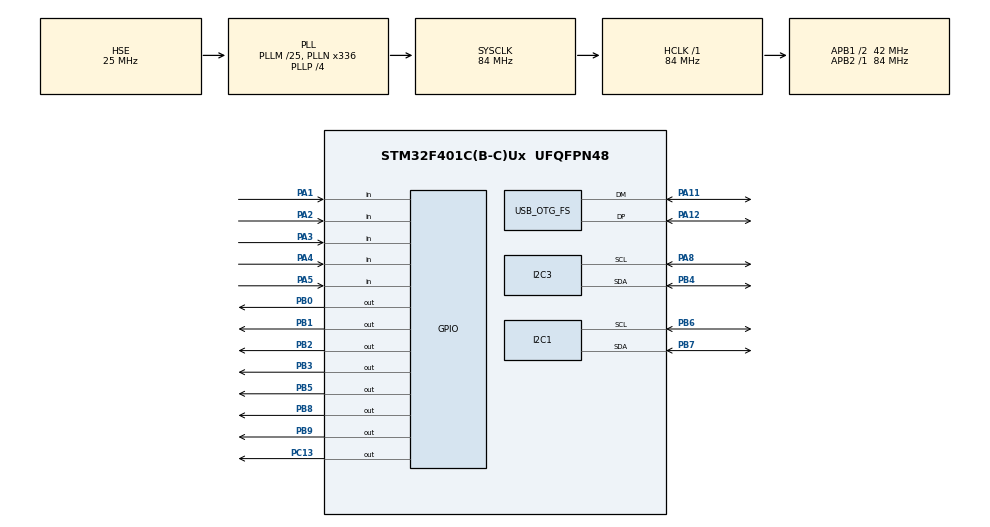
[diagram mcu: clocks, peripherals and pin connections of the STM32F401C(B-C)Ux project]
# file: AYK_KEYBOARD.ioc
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Mcu.Family=STM32F4
Mcu.Name=STM32F401C(B-C)Ux
Mcu.Package=UFQFPN48
NVIC.OTG_FS_IRQn=true\:0\:0\:false\:false\:true\:false\:true\:true
NVIC.PriorityGroup=NVIC_PRIORITYGROUP_4
PA1.GPIO_PuPd=GPIO_PULLUP
PA1.Signal=GPIO_Input
PA11.Mode=Device_Only
PA11.Signal=USB_OTG_FS_DM
PA12.Mode=Device_Only
PA12.Signal=USB_OTG_FS_DP
PA2.GPIO_PuPd=GPIO_PULLUP
PA2.Signal=GPIO_Input
PA3.GPIO_PuPd=GPIO_PULLUP
PA3.Signal=GPIO_Input
PA4.GPIO_PuPd=GPIO_PULLUP
PA4.Signal=GPIO_Input
PA5.GPIO_PuPd=GPIO_PULLUP
PA5.Signal=GPIO_Input
PA8.Mode=I2C
PA8.Signal=I2C3_SCL
PB0.Signal=GPIO_Output
PB1.Signal=GPIO_Output
PB2.Signal=GPIO_Output
PB3.Signal=GPIO_Output
PB4.Mode=I2C
PB4.Signal=I2C3_SDA
PB5.Signal=GPIO_Output
PB6.Mode=I2C
PB6.Signal=I2C1_SCL
PB7.Mode=I2C
PB7.Signal=I2C1_SDA
PB8.Signal=GPIO_Output
PB9.Signal=GPIO_Output
PC13-ANTI_TAMP.Signal=GPIO_Output
PH0\ -\ OSC_IN.Mode=HSE-External-Oscillator
PH0\ -\ OSC_IN.Signal=RCC_OSC_IN
PH1\ -\ OSC_OUT.Mode=HSE-External-Oscillator
PH1\ -\ OSC_OUT.Signal=RCC_OSC_OUT
ProjectManager.HeapSize=0x200
ProjectManager.StackSize=0x400
ProjectManager.TargetToolchain=MDK-ARM V5.32
RCC.48MHZClocksFreq_Value=48000000
RCC.AHBFreq_Value=84000000
RCC.APB1CLKDivider=RCC_HCLK_DIV2
RCC.APB1Freq_Value=42000000
RCC.APB1TimFreq_Value=84000000
RCC.APB2Freq_Value=84000000
RCC.APB2TimFreq_Value=84000000
RCC.CortexFreq_Value=84000000
RCC.HCLKFreq_Value=84000000
RCC.HSE_VALUE=25000000
RCC.HSI_VALUE=16000000
RCC.LSE_VALUE=32768
RCC.PLLM=25
RCC.PLLN=336
RCC.PLLP=RCC_PLLP_DIV4
RCC.PLLQ=7
RCC.SYSCLKFreq_VALUE=84000000
RCC.SYSCLKSource=RCC_SYSCLKSOURCE_PLLCLK
RCC.VCOOutputFreq_Value=336000000
USB_DEVICE.CLASS_NAME_FS=CUSTOM_HID
USB_DEVICE.MANUFACTURER_STRING=AYK
USB_DEVICE.PRODUCT_STRING_CUSTOMHID_FS=AYK_KEYBOARD
USB_DEVICE.VirtualMode=CustomHid
USB_DEVICE.VirtualModeFS=Custom_Hid_FS
USB_OTG_FS.VirtualMode=Device_Only
VP_USB_DEVICE_VS_USB_DEVICE_CUSTOM_HID_FS.Mode=CUSTOM_HID_FS
board=custom

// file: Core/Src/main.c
/* USER CODE BEGIN Header */
/**
  ******************************************************************************
  * @file           : main.c
  * @brief          : Main program body
  ******************************************************************************
  * @attention
  *
  * Copyright (c) 2023 STMicroelectronics.
  * All rights reserved.
  *
  * This software is licensed under terms that can be found in the LICENSE file
  * in the root directory of this software component.
  * If no LICENSE file comes with this software, it is provided AS-IS.
  *
  ******************************************************************************
  */
/* USER CODE END Header */
#include "main.h"
#include "usb_device.h"

/* USER CODE BEGIN Includes */
#include <stdbool.h>
/* USER CODE END Includes */

I2C_HandleTypeDef hi2c1;
I2C_HandleTypeDef hi2c3;

void SystemClock_Config(void);
static void MX_GPIO_Init(void);
static void MX_I2C1_Init(void);
static void MX_I2C3_Init(void);
/* USER CODE BEGIN PFP */
void ClearKey(void);
void FnKey(void);
void RowKey(uint8_t);
void delay_ms(uint16_t ms);
void TIM3_Encoder_init(void);
char str[] = "Hallo World!";
/* USER CODE END PFP */

/* USER CODE BEGIN 0 */

extern 			USBD_HandleTypeDef hUsbDeviceFS;

typedef struct{
	uint8_t ReportID;
	uint8_t MODIFIER;
	uint8_t RESERVED;
	uint8_t KEYCODE1;
	uint8_t KEYCODE2;
	uint8_t KEYCODE3;
	uint8_t KEYCODE4;
	uint8_t KEYCODE5;
	uint8_t KEYCODE6;
}keyboardHID;

union FnKey{
	uint16_t macros;
	uint8_t  KeyMacros[2];

}MacrosKey;

// 'frame_0_delay-0', 128x32px
const unsigned char epd_bitmap_frame_0_delay_0 []  = {
	0x00, 0x00, 0x00, 0x00, 0x00, 0x00, 0x00, 0x00, 0x00, 0x00, 0x00, 0x00, 0x00, 0x00, 0x00, 0x00,
	0x00, 0x00, 0x00, 0x00, 0x00, 0x00, 0x00, 0x00, 0x00, 0x00, 0x00, 0x00, 0x00, 0x00, 0x00, 0x00,
	0x00, 0x00, 0x00, 0x00, 0x00, 0x00, 0x00, 0x00, 0x00, 0x00, 0x00, 0x00, 0x00, 0x00, 0x00, 0x00,
	0x00, 0x00, 0x00, 0x00, 0x00, 0x00, 0x00, 0x00, 0x00, 0x00, 0x00, 0x00, 0x00, 0x00, 0x00, 0x00,
	0x00, 0x00, 0x00, 0x00, 0x00, 0x00, 0x00, 0x00, 0x00, 0x00, 0x00, 0x00, 0x00, 0x00, 0x00, 0x00,
	0x00, 0x00, 0x00, 0x00, 0x00, 0x00, 0x00, 0x00, 0x00, 0x00, 0x00, 0x00, 0x00, 0x00, 0x00, 0x00,
	0x00, 0x00, 0x00, 0x00, 0x00, 0x00, 0x00, 0x00, 0x00, 0x00, 0x00, 0x00, 0x00, 0x00, 0x00, 0x00,
	0x00, 0x00, 0x00, 0x00, 0x00, 0x00, 0x00, 0x00, 0x00, 0x00, 0x00, 0x00, 0x00, 0x00, 0x00, 0x00,
	0x00, 0x00, 0x00, 0x00, 0x00, 0x00, 0x00, 0x00, 0x00, 0x00, 0x00, 0x00, 0x00, 0x00, 0x00, 0x00,
	0x00, 0x00, 0x00, 0x00, 0x00, 0x00, 0x00, 0x00, 0x00, 0x00, 0x00, 0x00, 0x00, 0x00, 0x00, 0x00,
	0x00, 0x00, 0x03, 0x00, 0x00, 0x00, 0x40, 0x00, 0x03, 0x0f, 0x60, 0x08, 0x71, 0x00, 0x40, 0x00,
	0x03, 0xff, 0xff, 0xff, 0x73, 0xdf, 0xff, 0xfe, 0x7f, 0xfe, 0xff, 0xff, 0xff, 0xff, 0xfe, 0x00,
	0x03, 0x9c, 0x60, 0x04, 0xff, 0x3c, 0x07, 0x9d, 0xe0, 0x00, 0x00, 0x83, 0x00, 0x1c, 0x00, 0x00,
	0x00, 0x00, 0x00, 0x00, 0x0c, 0x00, 0x03, 0x00, 0x00, 0x00, 0x00, 0x03, 0x00, 0x00, 0x00, 0x00,
	0x00, 0x00, 0x00, 0x00, 0x0c, 0x00, 0x01, 0x80, 0x00, 0x00, 0x00, 0x03, 0x00, 0x00, 0x00, 0x00,
	0x00, 0x00, 0x00, 0x00, 0x07, 0x00, 0x21, 0x80, 0x00, 0x00, 0x00, 0x61, 0x00, 0x00, 0x00, 0x00,
	0x00, 0x00, 0x00, 0x00, 0x03, 0x00, 0x21, 0x80, 0x7b, 0xc0, 0x00, 0x01, 0x80, 0x00, 0x00, 0x00,
	0x00, 0x00, 0x00, 0x00, 0x00, 0x80, 0x00, 0x98, 0x4e, 0x60, 0x00, 0x01, 0x00, 0x00, 0x00, 0x00,
	0x00, 0x00, 0x00, 0x00, 0x00, 0xc0, 0x01, 0x18, 0x40, 0x0e, 0x04, 0x03, 0x00, 0x00, 0x00, 0x00,
	0x00, 0x00, 0x00, 0x00, 0x00, 0x61, 0x03, 0x00, 0x00, 0x0e, 0x03, 0xc6, 0x00, 0x00, 0x00, 0x00,
	0x00, 0x00, 0x00, 0x00, 0x00, 0x30, 0xfe, 0x00, 0x00, 0x00, 0x03, 0xfc, 0x00, 0x00, 0x00, 0x00,
	0x00, 0x00, 0x00, 0x00, 0x00, 0x30, 0x10, 0x00, 0x00, 0x00, 0x06, 0x00, 0x00, 0x00, 0x00, 0x00,
	0x00, 0x00, 0x00, 0x00, 0x00, 0x30, 0x00, 0x00, 0x00, 0x00, 0x0c, 0x00, 0x00, 0x00, 0x00, 0x00,
	0x00, 0x00, 0x00, 0x00, 0x00, 0x20, 0x00, 0x00, 0x00, 0x00, 0x08, 0x00, 0x00, 0x00, 0x00, 0x00,
	0x00, 0x00, 0x00, 0x00, 0x00, 0x30, 0x00, 0x00, 0x00, 0x00, 0x30, 0x00, 0x00, 0x00, 0x00, 0x00,
	0x00, 0x00, 0x00, 0x00, 0x00, 0x31, 0xf0, 0x00, 0x00, 0x01, 0xe0, 0x00, 0x00, 0x00, 0x00, 0x00,
	0x00, 0x00, 0x00, 0x00, 0x00, 0x1f, 0xff, 0xb0, 0x00, 0x03, 0xc0, 0x00, 0x00, 0x00, 0x00, 0x00,
	0x00, 0x00, 0x00, 0x00, 0x00, 0x10, 0x00, 0xff, 0xe8, 0x0e, 0x00, 0x00, 0x00, 0x00, 0x00, 0x00,
	0x00, 0x00, 0x00, 0x00, 0x00, 0x00, 0x00, 0x01, 0xbe, 0x18, 0x00, 0x00, 0x00, 0x00, 0x00, 0x00,
	0x00, 0x00, 0x00, 0x00, 0x00, 0x00, 0x00, 0x00, 0x03, 0x90, 0x00, 0x00, 0x00, 0x00, 0x00, 0x00,
	0x00, 0x00, 0x00, 0x00, 0x00, 0x00, 0x00, 0x00, 0x00, 0xe0, 0x00, 0x00, 0x00, 0x00, 0x00, 0x00,
	0x00, 0x00, 0x00, 0x00, 0x00, 0x00, 0x00, 0x00, 0x00, 0x30, 0x00, 0x00, 0x00, 0x00, 0x00, 0x00
};
// 'frame_1_delay-0', 128x32px
const unsigned char epd_bitmap_frame_1_delay_0 []  = {
	0x00, 0x00, 0x00, 0x00, 0x00, 0x00, 0x00, 0x00, 0x00, 0x00, 0x00, 0x84, 0x00, 0x00, 0x00, 0x00,
	0x00, 0x00, 0x00, 0x00, 0x00, 0x00, 0x00, 0x00, 0x00, 0x00, 0x61, 0x8c, 0x00, 0x00, 0x00, 0x00,
	0x00, 0x00, 0x00, 0x00, 0x00, 0x00, 0x00, 0x00, 0x00, 0x00, 0x79, 0x9c, 0x00, 0x00, 0x00, 0x00,
	0x00, 0x00, 0x00, 0x00, 0x00, 0x00, 0x00, 0x00, 0x00, 0x00, 0x18, 0x18, 0x00, 0x00, 0x00, 0x00,
	0x00, 0x00, 0x00, 0x00, 0x00, 0x00, 0x00, 0x00, 0x00, 0x00, 0x07, 0x80, 0x00, 0x00, 0x00, 0x00,
	0x00, 0x00, 0x00, 0x00, 0x00, 0x00, 0x00, 0x00, 0x00, 0x00, 0x0e, 0x60, 0x00, 0x00, 0x00, 0x00,
	0x00, 0x00, 0x00, 0x00, 0x00, 0x00, 0x00, 0x00, 0x00, 0x00, 0x18, 0x30, 0x00, 0x00, 0x00, 0x00,
	0x00, 0x00, 0x00, 0x00, 0x00, 0x00, 0x00, 0x00, 0x00, 0x00, 0x70, 0x18, 0x00, 0x00, 0x00, 0x00,
	0x00, 0x00, 0x00, 0x00, 0x00, 0x00, 0x00, 0x00, 0x00, 0x01, 0xc0, 0x30, 0x00, 0x00, 0x00, 0x00,
	0x00, 0x00, 0x00, 0x00, 0x00, 0x00, 0x00, 0x00, 0x00, 0x01, 0x80, 0x30, 0x00, 0x00, 0x00, 0x00,
	0x00, 0x00, 0x03, 0x00, 0x00, 0x00, 0x40, 0x00, 0x03, 0x0f, 0x00, 0x38, 0x71, 0x00, 0x40, 0x00,
	0x03, 0xff, 0xff, 0xff, 0x73, 0xdf, 0xff, 0xfe, 0x7f, 0xfe, 0x00, 0x3f, 0xff, 0xff, 0xfe, 0x00,
	0x03, 0x9c, 0x60, 0x04, 0xff, 0xbc, 0x07, 0x9d, 0xe0, 0x00, 0x00, 0x20, 0x00, 0x1c, 0x00, 0x00,
	0x00, 0x00, 0x00, 0x00, 0x0c, 0x00, 0x03, 0x00, 0x00, 0x00, 0x00, 0x60, 0x00, 0x00, 0x00, 0x00,
	0x00, 0x00, 0x00, 0x00, 0x0c, 0x00, 0x01, 0x80, 0x00, 0x00, 0x00, 0x60, 0x00, 0x00, 0x00, 0x00,
	0x00, 0x00, 0x00, 0x00, 0x07, 0x00, 0x21, 0x80, 0x00, 0x00, 0x00, 0x60, 0x00, 0x00, 0x00, 0x00,
	0x00, 0x00, 0x00, 0x00, 0x03, 0x00, 0x21, 0x80, 0x7b, 0xc0, 0x00, 0xc0, 0x00, 0x00, 0x00, 0x00,
	0x00, 0x00, 0x00, 0x00, 0x00, 0x80, 0x00, 0x98, 0x4e, 0x60, 0x00, 0xc0, 0x00, 0x00, 0x00, 0x00,
	0x00, 0x00, 0x00, 0x00, 0x00, 0xc0, 0x01, 0x18, 0x40, 0x0e, 0x00, 0xc0, 0x00, 0x00, 0x00, 0x00,
	0x00, 0x00, 0x00, 0x00, 0x00, 0x61, 0x02, 0x00, 0x00, 0x0e, 0x01, 0x80, 0x00, 0x00, 0x00, 0x00,
	0x00, 0x00, 0x00, 0x00, 0x00, 0x30, 0xfe, 0x00, 0x00, 0x00, 0x03, 0x00, 0x00, 0x00, 0x00, 0x00,
	0x00, 0x00, 0x00, 0x00, 0x00, 0x30, 0x10, 0x00, 0x00, 0x00, 0x06, 0x00, 0x00, 0x00, 0x00, 0x00,
	0x00, 0x00, 0x00, 0x00, 0x00, 0x30, 0x00, 0x00, 0x00, 0x00, 0x0c, 0x00, 0x00, 0x00, 0x00, 0x00,
	0x00, 0x00, 0x00, 0x00, 0x00, 0x20, 0x00, 0x00, 0x00, 0x00, 0x08, 0x00, 0x00, 0x00, 0x00, 0x00,
	0x00, 0x00, 0x00, 0x00, 0x00, 0x30, 0x00, 0x00, 0x00, 0x00, 0x30, 0x00, 0x00, 0x00, 0x00, 0x00,
	0x00, 0x00, 0x00, 0x00, 0x00, 0x31, 0xe8, 0x00, 0x00, 0x01, 0xe0, 0x00, 0x00, 0x00, 0x00, 0x00,
	0x00, 0x00, 0x00, 0x00, 0x00, 0x3f, 0xff, 0xf0, 0x00, 0x03, 0xc0, 0x00, 0x00, 0x00, 0x00, 0x00,
	0x00, 0x00, 0x00, 0x00, 0x00, 0x00, 0x00, 0xff, 0xe8, 0x0e, 0x00, 0x00, 0x00, 0x00, 0x00, 0x00,
	0x00, 0x00, 0x00, 0x00, 0x00, 0x00, 0x00, 0x01, 0x9e, 0x18, 0x00, 0x00, 0x00, 0x00, 0x00, 0x00,
	0x00, 0x00, 0x00, 0x00, 0x00, 0x00, 0x00, 0x00, 0x03, 0x90, 0x00, 0x00, 0x00, 0x00, 0x00, 0x00,
	0x00, 0x00, 0x00, 0x00, 0x00, 0x00, 0x00, 0x00, 0x00, 0xe0, 0x00, 0x00, 0x00, 0x00, 0x00, 0x00,
	0x00, 0x00, 0x00, 0x00, 0x00, 0x00, 0x00, 0x00, 0x00, 0x00, 0x00, 0x00, 0x00, 0x00, 0x00, 0x00
};
// 'frame_3_delay-0', 128x32px
const unsigned char epd_bitmap_frame_3_delay_0 []  = {
	0x00, 0x00, 0x00, 0x00, 0x00, 0x00, 0x00, 0x00, 0x00, 0x00, 0x00, 0x00, 0x00, 0x00, 0x00, 0x00,
	0x00, 0x00, 0x00, 0x00, 0x00, 0x01, 0x86, 0x08, 0x00, 0x00, 0x00, 0x00, 0x00, 0x00, 0x00, 0x00,
	0x00, 0x00, 0x00, 0x00, 0x00, 0x00, 0xc6, 0x38, 0x00, 0x00, 0x00, 0x00, 0x00, 0x00, 0x00, 0x00,
	0x00, 0x00, 0x00, 0x00, 0x00, 0x00, 0x66, 0x30, 0x00, 0x00, 0x00, 0x00, 0x00, 0x00, 0x00, 0x00,
	0x00, 0x00, 0x00, 0x00, 0x00, 0x00, 0x60, 0x20, 0x00, 0x00, 0x00, 0x00, 0x00, 0x00, 0x00, 0x00,
	0x00, 0x00, 0x00, 0x00, 0x00, 0x00, 0x1e, 0x00, 0x00, 0x00, 0x00, 0x00, 0x00, 0x00, 0x00, 0x00,
	0x00, 0x00, 0x00, 0x00, 0x00, 0x00, 0x3f, 0x80, 0x00, 0x00, 0x00, 0x00, 0x00, 0x00, 0x00, 0x00,
	0x00, 0x00, 0x00, 0x00, 0x00, 0x00, 0xe0, 0xc0, 0x00, 0x00, 0x00, 0x00, 0x00, 0x00, 0x00, 0x00,
	0x00, 0x00, 0x00, 0x00, 0x00, 0x01, 0x80, 0x40, 0x00, 0x00, 0x00, 0x00, 0x00, 0x00, 0x00, 0x00,
	0x00, 0x00, 0x00, 0x00, 0x00, 0x07, 0x80, 0xe0, 0x00, 0x00, 0x00, 0x00, 0x00, 0x00, 0x00, 0x00,
	0x00, 0x00, 0x01, 0x00, 0x00, 0x0e, 0x00, 0xc0, 0x03, 0x0f, 0x62, 0x08, 0x73, 0x00, 0x40, 0x00,
	0x03, 0xff, 0xff, 0xff, 0xf3, 0xdc, 0x00, 0xfe, 0x7f, 0xfe, 0xff, 0xff, 0xff, 0xff, 0xfe, 0x00,
	0x03, 0x9c, 0x60, 0x04, 0xff, 0x38, 0x00, 0xdd, 0xe0, 0x00, 0x00, 0x83, 0x00, 0x1c, 0x00, 0x00,
	0x00, 0x00, 0x00, 0x00, 0x0c, 0x18, 0x01, 0xc0, 0x00, 0x00, 0x00, 0x03, 0x00, 0x00, 0x00, 0x00,
	0x00, 0x00, 0x00, 0x00, 0x0c, 0x10, 0x00, 0x00, 0x00, 0x00, 0x00, 0x03, 0x00, 0x00, 0x00, 0x00,
	0x00, 0x00, 0x00, 0x00, 0x06, 0x00, 0x00, 0x00, 0x00, 0x00, 0x00, 0x61, 0x00, 0x00, 0x00, 0x00,
	0x00, 0x00, 0x00, 0x00, 0x03, 0x00, 0x00, 0x00, 0x7b, 0xc0, 0x00, 0x01, 0x80, 0x00, 0x00, 0x00,
	0x00, 0x00, 0x00, 0x00, 0x00, 0x80, 0x00, 0x18, 0x4e, 0x60, 0x00, 0x01, 0x00, 0x00, 0x00, 0x00,
	0x00, 0x00, 0x00, 0x00, 0x00, 0xc0, 0x00, 0x38, 0x40, 0x0e, 0x04, 0x03, 0x00, 0x00, 0x00, 0x00,
	0x00, 0x00, 0x00, 0x00, 0x00, 0x60, 0x00, 0x00, 0x00, 0x0e, 0x03, 0xc6, 0x00, 0x00, 0x00, 0x00,
	0x00, 0x00, 0x00, 0x00, 0x00, 0x30, 0x00, 0x00, 0x00, 0x00, 0x03, 0xfc, 0x00, 0x00, 0x00, 0x00,
	0x00, 0x00, 0x00, 0x00, 0x00, 0x30, 0x00, 0x00, 0x00, 0x00, 0x06, 0x00, 0x00, 0x00, 0x00, 0x00,
	0x00, 0x00, 0x00, 0x00, 0x00, 0x30, 0x00, 0x00, 0x00, 0x00, 0x0c, 0x00, 0x00, 0x00, 0x00, 0x00,
	0x00, 0x00, 0x00, 0x00, 0x00, 0x20, 0x00, 0x00, 0x00, 0x00, 0x08, 0x00, 0x00, 0x00, 0x00, 0x00,
	0x00, 0x00, 0x00, 0x00, 0x00, 0x30, 0x00, 0x00, 0x00, 0x00, 0x30, 0x00, 0x00, 0x00, 0x00, 0x00,
	0x00, 0x00, 0x00, 0x00, 0x00, 0x31, 0xe8, 0x00, 0x00, 0x01, 0xe0, 0x00, 0x00, 0x00, 0x00, 0x00,
	0x00, 0x00, 0x00, 0x00, 0x00, 0x3f, 0xff, 0xf0, 0x00, 0x03, 0xc0, 0x00, 0x00, 0x00, 0x00, 0x00,
	0x00, 0x00, 0x00, 0x00, 0x00, 0x00, 0x00, 0xff, 0xe8, 0x0e, 0x00, 0x00, 0x00, 0x00, 0x00, 0x00,
	0x00, 0x00, 0x00, 0x00, 0x00, 0x00, 0x00, 0x01, 0x9e, 0x18, 0x00, 0x00, 0x00, 0x00, 0x00, 0x00,
	0x00, 0x00, 0x00, 0x00, 0x00, 0x00, 0x00, 0x00, 0x03, 0x90, 0x00, 0x00, 0x00, 0x00, 0x00, 0x00,
	0x00, 0x00, 0x00, 0x00, 0x00, 0x00, 0x00, 0x00, 0x00, 0xe0, 0x00, 0x00, 0x00, 0x00, 0x00, 0x00,
	0x00, 0x00, 0x00, 0x00, 0x00, 0x00, 0x00, 0x00, 0x00, 0x00, 0x00, 0x00, 0x00, 0x00, 0x00, 0x00
};
// 'frame_5_delay-0', 128x32px
const unsigned char epd_bitmap_frame_5_delay_0 []  = {
	0x00, 0x00, 0x00, 0x00, 0x00, 0x00, 0x00, 0x00, 0x00, 0x00, 0x00, 0x80, 0x00, 0x00, 0x00, 0x00,
	0x00, 0x00, 0x00, 0x00, 0x00, 0x00, 0x06, 0x00, 0x00, 0x00, 0xe1, 0x8c, 0x00, 0x00, 0x00, 0x00,
	0x00, 0x00, 0x00, 0x00, 0x00, 0x00, 0x0e, 0x08, 0x00, 0x00, 0x71, 0x9c, 0x00, 0x00, 0x00, 0x00,
	0x00, 0x00, 0x00, 0x00, 0x00, 0x01, 0xc4, 0x18, 0x00, 0x00, 0x00, 0x18, 0x00, 0x00, 0x00, 0x00,
	0x00, 0x00, 0x00, 0x00, 0x00, 0x01, 0xe0, 0x30, 0x00, 0x00, 0x07, 0xc0, 0x00, 0x00, 0x00, 0x00,
	0x00, 0x00, 0x00, 0x00, 0x00, 0x00, 0x1e, 0x00, 0x00, 0x00, 0x0e, 0x60, 0x00, 0x00, 0x00, 0x00,
	0x00, 0x00, 0x00, 0x00, 0x00, 0x00, 0x3f, 0x80, 0x00, 0x00, 0x18, 0x30, 0x00, 0x00, 0x00, 0x00,
	0x00, 0x00, 0x00, 0x00, 0x00, 0x00, 0xe0, 0xc0, 0x00, 0x00, 0x70, 0x18, 0x00, 0x00, 0x00, 0x00,
	0x00, 0x00, 0x00, 0x00, 0x00, 0x01, 0x80, 0x40, 0x00, 0x01, 0xc0, 0x30, 0x00, 0x00, 0x00, 0x00,
	0x00, 0x00, 0x00, 0x00, 0x00, 0x07, 0x80, 0xe0, 0x00, 0x01, 0x80, 0x30, 0x00, 0x00, 0x00, 0x00,
	0x00, 0x00, 0x01, 0x00, 0x00, 0x0e, 0x00, 0xc0, 0x03, 0x0f, 0x00, 0x38, 0x73, 0x00, 0x40, 0x00,
	0x03, 0xff, 0xff, 0xff, 0x73, 0xdc, 0x00, 0xfe, 0x7f, 0xfe, 0x00, 0x3f, 0xff, 0xff, 0xfe, 0x00,
	0x03, 0x9c, 0x60, 0x04, 0xff, 0x38, 0x00, 0xdd, 0xe0, 0x00, 0x00, 0x20, 0x00, 0x1c, 0x00, 0x00,
	0x00, 0x00, 0x00, 0x00, 0x0c, 0x18, 0x01, 0xc0, 0x00, 0x00, 0x00, 0x60, 0x00, 0x00, 0x00, 0x00,
	0x00, 0x00, 0x00, 0x00, 0x0c, 0x10, 0x00, 0x00, 0x00, 0x00, 0x00, 0x60, 0x00, 0x00, 0x00, 0x00,
	0x00, 0x00, 0x00, 0x00, 0x06, 0x00, 0x00, 0x00, 0x00, 0x00, 0x00, 0x60, 0x00, 0x00, 0x00, 0x00,
	0x00, 0x00, 0x00, 0x00, 0x03, 0x00, 0x00, 0x00, 0x7b, 0xc0, 0x00, 0xc0, 0x00, 0x00, 0x00, 0x00,
	0x00, 0x00, 0x00, 0x00, 0x00, 0x80, 0x00, 0x18, 0x4e, 0x60, 0x00, 0xc0, 0x00, 0x00, 0x00, 0x00,
	0x00, 0x00, 0x00, 0x00, 0x00, 0xc0, 0x00, 0x18, 0x40, 0x0e, 0x00, 0xc0, 0x00, 0x00, 0x00, 0x00,
	0x00, 0x00, 0x00, 0x00, 0x00, 0x60, 0x00, 0x00, 0x00, 0x0e, 0x01, 0x80, 0x00, 0x00, 0x00, 0x00,
	0x00, 0x00, 0x00, 0x00, 0x00, 0x30, 0x00, 0x00, 0x00, 0x00, 0x03, 0x00, 0x00, 0x00, 0x00, 0x00,
	0x00, 0x00, 0x00, 0x00, 0x00, 0x30, 0x00, 0x00, 0x00, 0x00, 0x06, 0x00, 0x00, 0x00, 0x00, 0x00,
	0x00, 0x00, 0x00, 0x00, 0x00, 0x30, 0x00, 0x00, 0x00, 0x00, 0x0c, 0x00, 0x00, 0x00, 0x00, 0x00,
	0x00, 0x00, 0x00, 0x00, 0x00, 0x20, 0x00, 0x00, 0x00, 0x00, 0x08, 0x00, 0x00, 0x00, 0x00, 0x00,
	0x00, 0x00, 0x00, 0x00, 0x00, 0x30, 0x00, 0x00, 0x00, 0x00, 0x30, 0x00, 0x00, 0x00, 0x00, 0x00,
	0x00, 0x00, 0x00, 0x00, 0x00, 0x31, 0xe8, 0x00, 0x00, 0x01, 0xe0, 0x00, 0x00, 0x00, 0x00, 0x00,
	0x00, 0x00, 0x00, 0x00, 0x00, 0x1f, 0xff, 0xb0, 0x00, 0x03, 0xc0, 0x00, 0x00, 0x00, 0x00, 0x00,
	0x00, 0x00, 0x00, 0x00, 0x00, 0x00, 0x00, 0xff, 0xe8, 0x0e, 0x00, 0x00, 0x00, 0x00, 0x00, 0x00,
	0x00, 0x00, 0x00, 0x00, 0x00, 0x00, 0x00, 0x01, 0x9e, 0x18, 0x00, 0x00, 0x00, 0x00, 0x00, 0x00,
	0x00, 0x00, 0x00, 0x00, 0x00, 0x00, 0x00, 0x00, 0x03, 0x90, 0x00, 0x00, 0x00, 0x00, 0x00, 0x00,
	0x00, 0x00, 0x00, 0x00, 0x00, 0x00, 0x00, 0x00, 0x00, 0xe0, 0x00, 0x00, 0x00, 0x00, 0x00, 0x00,
	0x00, 0x00, 0x00, 0x00, 0x00, 0x00, 0x00, 0x00, 0x00, 0x00, 0x00, 0x00, 0x00, 0x00, 0x00, 0x00
};

// Array of all bitmaps for convenience. (Total bytes used to store images in  = 3168)
const int epd_bitmap_allArray_LEN = 6;
const unsigned char* epd_bitmap_allArray[epd_bitmap_allArray_LEN] = {
	epd_bitmap_frame_0_delay_0,
	epd_bitmap_frame_1_delay_0,
	epd_bitmap_frame_0_delay_0,
	epd_bitmap_frame_3_delay_0,
	epd_bitmap_frame_0_delay_0,
	epd_bitmap_frame_5_delay_0
};

keyboardHID keyboardhid = {1,0,0,0,0,0,0,0,0};
//keyboardHID consumerhid = {2,0};

const uint8_t KeyArray[4][6] ={		{key_y, key_u, key_i, key_o, key_p,key_SquareBrackets_Left},//

																	{key_h, key_j, key_k, key_l, key_Semicolon, key_SquareBrackets_Right},

																	{key_n,  key_m, key_Comma,  key_UpArrow, key_Dot, key_Apostrophe},

																	{key_Fn, key_Spacebar, key_Enter , key_LeftArrow, key_DownArrow, key_RightArrow},};

const uint16_t KeyFn[4][6] ={			{Fn_y, Fn_u, Fn_i, Fn_o, Fn_p,Fn_SquareBrackets_Left},//

																	{Fn_h, Fn_j, Fn_k, Fn_l, Fn_Semicolon, Fn_SquareBrackets_Right},

																	{Fn_n,  Fn_m, Fn_Comma,  Fn_Up, Fn_Dot, Fn_Apostrophe},

																	{key_Fn, 0, 0 , 0, 0, 0},};

const uint16_t FnNum[4][6] ={			{key_7, key_8, key_9, key_0, key_Equal, key_underscore},//

																	{key_4, key_5, key_6, key_Minus, key_Slash, key_Backslash},

																	{key_1,  key_2, key_3,  key_DELETE, key_Plus, key_cbar},

																	{key_Fn, 0, 0, 0, 0, 0},};

//uint8_t EncoderNum = 0, PreviousEncoderNum= 0;

/* USER CODE END 0 */

int main(void)
{

  /* MCU Configuration--------------------------------------------------------*/

  /* Reset of all peripherals, Initializes the Flash interface and the Systick. */
	HAL_Init();

  /* Configure the system clock */
  SystemClock_Config();

  /* Initialize all configured peripherals */
  MX_GPIO_Init();
  MX_USB_DEVICE_Init();
  MX_I2C1_Init();
  MX_I2C3_Init();
	ssd1306_Init();
  /* USER CODE BEGIN 2 */

	//void USB_Send(void);

	//TIM3_Encoder_init();
	ClearKey();
	uint8_t imageNum[2] = {0};

  /* USER CODE END 2 */
  /* Infinite loop */
  /* USER CODE BEGIN WHILE */
  while (1)
  {
/////////////////////////Encoder////////////////////////////////////////////////
//		PreviousEncoderNum = EncoderNum;
//		EncoderNum = TIM3->CNT;
//
//		if(EncoderNum>PreviousEncoderNum)consumerhid.MODIFIER = USB_HID_VOL_UP;
//		else if(EncoderNum<PreviousEncoderNum)consumerhid.MODIFIER = USB_HID_VOL_DEC;
//
//		USBD_CUSTOM_HID_SendReport(&hUsbDeviceFS, &consumerhid, sizeof (consumerhid));
//		consumerhid.MODIFIER = 0;
//		USBD_CUSTOM_HID_SendReport(&hUsbDeviceFS, &consumerhid, sizeof (consumerhid));
//		delay_ms(10);

/////////////////////////Keyboard///////////////////////////////////////////////
			for(int i = 0;i<4;i++) RowKey(i);
			FnKey();
			USBD_CUSTOM_HID_SendReport(&hUsbDeviceFS, &keyboardhid, sizeof (keyboardhid));
			ClearKey();
			USBD_CUSTOM_HID_SendReport(&hUsbDeviceFS, &keyboardhid, sizeof (keyboardhid));
			//delay_ms(100);

    /* USER CODE END WHILE */

		ssd1306_Fill(Black);
		ssd1306_DrawBitmap(0,0,epd_bitmap_allArray[imageNum[1]],128,32,White);
		ssd1306_UpdateScreen();
		imageNum[0]++;
		if(imageNum[0] == 5){
			imageNum[0] = 0;
			imageNum[1]++;
			if(imageNum[1] == epd_bitmap_allArray_LEN) imageNum[1] =0;
		}

  }
}

void SystemClock_Config(void)
{
  RCC_OscInitTypeDef RCC_OscInitStruct = {0};
  RCC_ClkInitTypeDef RCC_ClkInitStruct = {0};

  /** Configure the main internal regulator output voltage
  */
  __HAL_RCC_PWR_CLK_ENABLE();
  __HAL_PWR_VOLTAGESCALING_CONFIG(PWR_REGULATOR_VOLTAGE_SCALE2);

  /** Initializes the RCC Oscillators according to the specified parameters
  * in the RCC_OscInitTypeDef structure.
  */
  RCC_OscInitStruct.OscillatorType = RCC_OSCILLATORTYPE_HSE;
  RCC_OscInitStruct.HSEState = RCC_HSE_ON;
  RCC_OscInitStruct.PLL.PLLState = RCC_PLL_ON;
  RCC_OscInitStruct.PLL.PLLSource = RCC_PLLSOURCE_HSE;
  RCC_OscInitStruct.PLL.PLLM = 25;
  RCC_OscInitStruct.PLL.PLLN = 336;
  RCC_OscInitStruct.PLL.PLLP = RCC_PLLP_DIV4;
  RCC_OscInitStruct.PLL.PLLQ = 7;
  if (HAL_RCC_OscConfig(&RCC_OscInitStruct) != HAL_OK)
  {
    Error_Handler();
  }

  /** Initializes the CPU, AHB and APB buses clocks
  */
  RCC_ClkInitStruct.ClockType = RCC_CLOCKTYPE_HCLK|RCC_CLOCKTYPE_SYSCLK
                              |RCC_CLOCKTYPE_PCLK1|RCC_CLOCKTYPE_PCLK2;
  RCC_ClkInitStruct.SYSCLKSource = RCC_SYSCLKSOURCE_PLLCLK;
  RCC_ClkInitStruct.AHBCLKDivider = RCC_SYSCLK_DIV1;
  RCC_ClkInitStruct.APB1CLKDivider = RCC_HCLK_DIV2;
  RCC_ClkInitStruct.APB2CLKDivider = RCC_HCLK_DIV1;

  if (HAL_RCC_ClockConfig(&RCC_ClkInitStruct, FLASH_LATENCY_2) != HAL_OK)
  {
    Error_Handler();
  }
}

static void MX_I2C1_Init(void)
{

  hi2c1.Instance = I2C1;
  hi2c1.Init.ClockSpeed = 100000;
  hi2c1.Init.DutyCycle = I2C_DUTYCYCLE_2;
  hi2c1.Init.OwnAddress1 = 0;
  hi2c1.Init.AddressingMode = I2C_ADDRESSINGMODE_7BIT;
  hi2c1.Init.DualAddressMode = I2C_DUALADDRESS_DISABLE;
  hi2c1.Init.OwnAddress2 = 0;
  hi2c1.Init.GeneralCallMode = I2C_GENERALCALL_DISABLE;
  hi2c1.Init.NoStretchMode = I2C_NOSTRETCH_DISABLE;
  if (HAL_I2C_Init(&hi2c1) != HAL_OK)
  {
    Error_Handler();
  }

}

static void MX_I2C3_Init(void)
{

  hi2c3.Instance = I2C3;
  hi2c3.Init.ClockSpeed = 100000;
  hi2c3.Init.DutyCycle = I2C_DUTYCYCLE_2;
  hi2c3.Init.OwnAddress1 = 0;
  hi2c3.Init.AddressingMode = I2C_ADDRESSINGMODE_7BIT;
  hi2c3.Init.DualAddressMode = I2C_DUALADDRESS_DISABLE;
  hi2c3.Init.OwnAddress2 = 0;
  hi2c3.Init.GeneralCallMode = I2C_GENERALCALL_DISABLE;
  hi2c3.Init.NoStretchMode = I2C_NOSTRETCH_DISABLE;
  if (HAL_I2C_Init(&hi2c3) != HAL_OK)
  {
    Error_Handler();
  }

}

static void MX_GPIO_Init(void)
{
  GPIO_InitTypeDef GPIO_InitStruct = {0};

  /* GPIO Ports Clock Enable */
  __HAL_RCC_GPIOC_CLK_ENABLE();
  __HAL_RCC_GPIOH_CLK_ENABLE();
  __HAL_RCC_GPIOA_CLK_ENABLE();
  __HAL_RCC_GPIOB_CLK_ENABLE();

  /*Configure GPIO pin Output Level */
  HAL_GPIO_WritePin(GPIOC, GPIO_PIN_13, GPIO_PIN_SET);

  /*Configure GPIO pin Output Level */
  HAL_GPIO_WritePin(GPIOB, GPIO_PIN_0|GPIO_PIN_1|GPIO_PIN_3
														|GPIO_PIN_5|GPIO_PIN_8|GPIO_PIN_9, GPIO_PIN_SET);

  /*Configure GPIO pin : PC13 */
  GPIO_InitStruct.Pin  = GPIO_PIN_13;
  GPIO_InitStruct.Mode = GPIO_MODE_OUTPUT_PP;
  GPIO_InitStruct.Pull = GPIO_NOPULL;
  GPIO_InitStruct.Speed = GPIO_SPEED_FREQ_VERY_HIGH;
  HAL_GPIO_Init(GPIOC, &GPIO_InitStruct);

  /*Configure GPIO pins : PB0 PB1 PB2 PB3 PB5 PB8 */
  GPIO_InitStruct.Pin = GPIO_PIN_0|GPIO_PIN_1|GPIO_PIN_3|GPIO_PIN_5
											 |GPIO_PIN_8|GPIO_PIN_9;
  GPIO_InitStruct.Mode = GPIO_MODE_INPUT;
  GPIO_InitStruct.Pull = GPIO_PULLUP;
  HAL_GPIO_Init(GPIOB, &GPIO_InitStruct);
	GPIOB->BSRR = GPIO_BSRR_BS2;
  /*Configure GPIO pins : PA0 PA1 PA2 PA3*/
  GPIO_InitStruct.Pin   = GPIO_PIN_1 | GPIO_PIN_2|GPIO_PIN_3|GPIO_PIN_4;
  GPIO_InitStruct.Mode  = GPIO_MODE_OUTPUT_PP;
  GPIO_InitStruct.Pull  = GPIO_PULLUP;
  GPIO_InitStruct.Speed = GPIO_SPEED_FREQ_LOW;
  HAL_GPIO_Init(GPIOA, &GPIO_InitStruct);

}

/* USER CODE BEGIN 4 */

void ClearKey(void){ // отжать все кнопки
			keyboardhid.MODIFIER = 0;
			keyboardhid.KEYCODE1 = 0;
			keyboardhid.KEYCODE2 = 0;
			keyboardhid.KEYCODE3 = 0;
			keyboardhid.KEYCODE4 = 0;
			keyboardhid.KEYCODE5 = 0;
			keyboardhid.KEYCODE6 = 0;
}

void RowKey(uint8_t rowNum){
		if(rowNum == 0) GPIOA->BSRR = GPIO_BSRR_BR1;
		else if(rowNum == 1) GPIOA->BSRR = GPIO_BSRR_BR2;
		else if(rowNum == 2) GPIOA->BSRR = GPIO_BSRR_BR3;
		else if(rowNum == 3) GPIOA->BSRR = GPIO_BSRR_BR4;

		if(!(GPIOB->IDR & GPIO_IDR_IDR_0)){
			if		 (!keyboardhid.KEYCODE1) keyboardhid.KEYCODE1 = KeyArray[rowNum][0];
			else if(!keyboardhid.KEYCODE2) keyboardhid.KEYCODE2 = KeyArray[rowNum][0];
		}
		if(!(GPIOB->IDR & GPIO_IDR_IDR_1)){
			if		 (!keyboardhid.KEYCODE1) keyboardhid.KEYCODE1 = KeyArray[rowNum][1];
			else if(!keyboardhid.KEYCODE2) keyboardhid.KEYCODE2 = KeyArray[rowNum][1];
		}
		if(!(GPIOB->IDR & GPIO_IDR_IDR_3)){
			if		 (!keyboardhid.KEYCODE1) keyboardhid.KEYCODE1 = KeyArray[rowNum][2];
			else if(!keyboardhid.KEYCODE2) keyboardhid.KEYCODE2 = KeyArray[rowNum][2];
		}
		if(!(GPIOB->IDR & GPIO_IDR_IDR_5)){
			if		 (!keyboardhid.KEYCODE1) keyboardhid.KEYCODE1 = KeyArray[rowNum][3];
			else if(!keyboardhid.KEYCODE2) keyboardhid.KEYCODE2 = KeyArray[rowNum][3];
		}
		if(!(GPIOB->IDR & GPIO_IDR_IDR_8)){
			if		 (!keyboardhid.KEYCODE1) keyboardhid.KEYCODE1 = KeyArray[rowNum][4];
			else if(!keyboardhid.KEYCODE2) keyboardhid.KEYCODE2 = KeyArray[rowNum][4];
		}
		if(!(GPIOB->IDR & GPIO_IDR_IDR_9)){
			if		 (!keyboardhid.KEYCODE1) keyboardhid.KEYCODE1 = KeyArray[rowNum][5];
			else if(!keyboardhid.KEYCODE2) keyboardhid.KEYCODE2 = KeyArray[rowNum][5];
		}
		if(rowNum == 0) GPIOA->BSRR = GPIO_BSRR_BS1;
		else if(rowNum == 1) GPIOA->BSRR = GPIO_BSRR_BS2;
		else if(rowNum == 2) GPIOA->BSRR = GPIO_BSRR_BS3;
		else if(rowNum == 3) GPIOA->BSRR = GPIO_BSRR_BS4;

}
void FnKey(void){
			MacrosKey.KeyMacros[0] = keyboardhid.KEYCODE1;
			MacrosKey.KeyMacros[1] = keyboardhid.KEYCODE2;
			if((MacrosKey.KeyMacros[1] == key_Fn) || (MacrosKey.KeyMacros[0] == key_Fn) ){
				HAL_GPIO_WritePin(GPIOC, GPIO_PIN_13, GPIO_PIN_RESET);
				for(int i = 0;i<4;i++){
					for(int j = 0;j<6;j++){
						if(MacrosKey.macros == KeyFn[i][j]){
							MacrosKey.macros = FnNum[i][j];
							keyboardhid.KEYCODE1 = MacrosKey.KeyMacros[0];
							keyboardhid.KEYCODE2 = MacrosKey.KeyMacros[1];
							break;}
					}
				}
			}else{
				HAL_GPIO_WritePin(GPIOC, GPIO_PIN_13, GPIO_PIN_SET);
			}
}

void delay_ms(uint16_t ms){
   RCC->APB2ENR |= RCC_APB2ENR_TIM11EN;                                         // Включаем тактирование таймера
	 ms=ms*10;
	 TIM11->PSC = 8400-1;                                                         // устанавливаем предделитель 84,000,000 / 8399 = 10,000  0,0001s
   TIM11->ARR = ms - 1;                                                         // устанавливаем значение переполнения таймера
	 TIM11->EGR |= TIM_EGR_UG;                                                    // Генерируем Событие обновления для записи данных в регистры PSC и ARR
   TIM11->CR1 |= TIM_CR1_CEN|TIM_CR1_OPM;                                       // Запускаем таймер записью бита CEN и устанавливаем режим Одного прохода установкой бита OPM
	 while (TIM11->CR1 & TIM_CR1_CEN);                                            // Ждем окончания счета
}// END_delay_ms

void TIM3_Encoder_init(void){
	//разрешаем тактирование таймера TIM3
	RCC->APB1ENR |= RCC_APB1ENR_TIM3EN;

       //конфигурируем выводы к которым подключается энкодер как входы с подтяжкой к питанию
	GPIOA->MODER &= ~(GPIO_MODER_MODER6_0 | GPIO_MODER_MODER7_0);
	GPIOA->MODER |= (GPIO_MODER_MODER6_1 | GPIO_MODER_MODER7_1);
	GPIOA->PUPDR &= ~(GPIO_PUPDR_PUPDR6 | GPIO_PUPDR_PUPDR7);
	GPIOA->AFR[0] &= ~(GPIO_AFRL_AFSEL6 | GPIO_AFRL_AFSEL7);
	GPIOA->AFR[0] |= (GPIO_AFRL_AFSEL6_1 | GPIO_AFRL_AFSEL7_1);

         //настраиваем фильтр
  TIM3->CCMR1 |= TIM_CCMR1_IC1F | TIM_CCMR1_IC2F;
        //настраиваем мультиплексор
	TIM3->CCMR1 |= TIM_CCMR1_CC1S_0 | TIM_CCMR1_CC2S_0;
        //сигнал TIxFP1 появиться по возрастающему фронту
	TIM3->CCER &= ~(TIM_CCER_CC1P | TIM_CCER_CC2P);
        //счет по обоим фронтам
	TIM3->SMCR |= TIM_SMCR_SMS_0 | TIM_SMCR_SMS_1;
         //максимальное значение счетчика
	TIM3->ARR = 100;
        //включаем счетчик
	TIM3->CR1 |= TIM_CR1_CEN ;
	//обнуляем счетный регистр
	TIM3->CNT = 0;
}

/* USER CODE END 4 */

void Error_Handler(void)
{
  __disable_irq();
  while (1)
  {
  }
}
